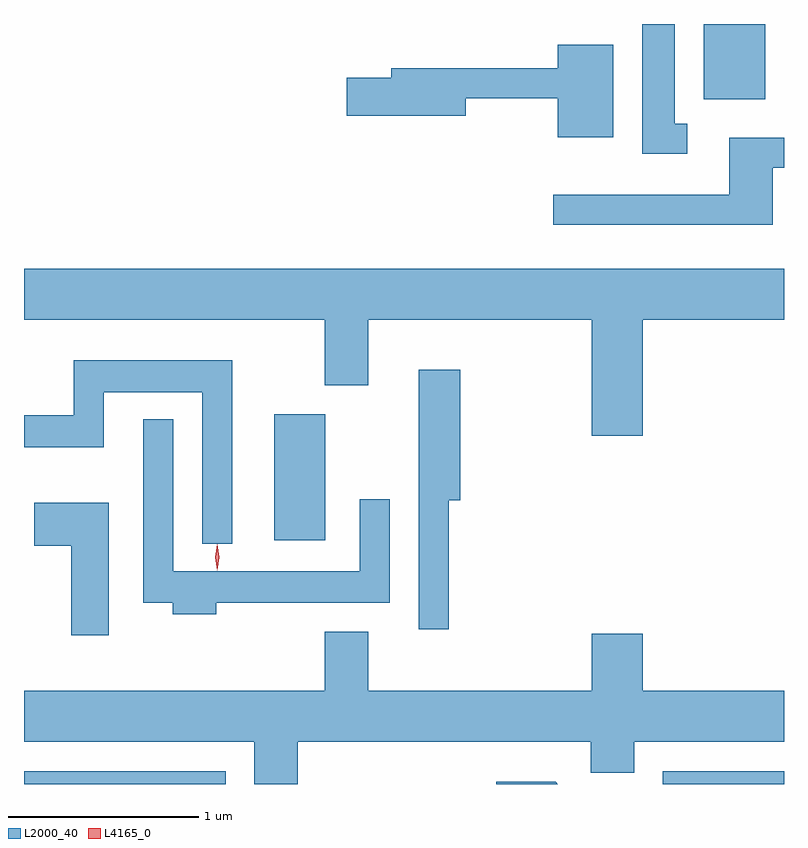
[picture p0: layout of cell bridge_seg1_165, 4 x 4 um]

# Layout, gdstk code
import gdstk
lib = gdstk.Library(unit=1e-6, precision=1e-09)
def R(c, l, rs):  # rectangles x0, y0, x1, y1
    for r in rs: c.add(gdstk.rectangle(r[:2], r[2:], *l))
def P(c, l, *ps):  # polygons
    for p in ps: c.add(gdstk.Polygon(p, *l))
L2000_40 = (2000, 40)
L4165_0 = (4165, 0)

bridge_seg1_165 = lib.new_cell('bridge_seg1_165')
R(bridge_seg1_165, L2000_40, [(811.488,965.953,812.549,966.019), (814.851,965.953,815.488,966.019), (812.806,967.236,813.074,967.899), (815.066,969.556,815.389,969.953)])
P(bridge_seg1_165, L2000_40, [(814.978,969.429),(814.914,969.429),(814.914,969.953),(814.741,969.953),(814.741,969.271),(814.978,969.271)],
  [(814.589,969.844),(814.296,969.844),(814.296,969.719),(813.421,969.719),(813.421,969.669),(813.186,969.669),(813.186,969.471),(813.814,969.471),(813.814,969.561),(814.296,969.561),(814.296,969.356),(814.589,969.356)],
  [(815.429,969.196),(815.488,969.196),(815.488,969.354),(815.201,969.354),(815.201,969.054),(814.273,969.054),(814.273,968.896),(815.429,968.896)],
  [(814.744,968.396),(815.488,968.396),(815.488,968.664),(811.488,968.664),(811.488,968.396),(813.071,968.396),(813.071,968.051),(813.299,968.051),(813.299,968.396),(814.476,968.396),(814.476,967.786),(814.744,967.786)],
  [(812.584,968.184),(811.751,968.184),(811.751,967.894),(811.488,967.894),(811.488,967.726),(811.909,967.726),(811.909,968.016),(812.426,968.016),(812.426,967.218),(812.584,967.218)],
  [(813.724,967.446),(813.784,967.446),(813.784,968.134),(813.566,968.134),(813.566,966.768),(813.724,966.768)],
  [(812.499,966.906),(813.414,966.906),(813.414,967.453),(813.256,967.453),(813.256,967.074),(812.274,967.074),(812.274,967.873),(812.116,967.873),(812.116,966.906),(812.271,966.906),(812.271,966.846),(812.499,966.846)],
  [(811.934,967.434),(811.541,967.434),(811.541,967.206),(811.736,967.206),(811.736,966.736),(811.934,966.736)],
  [(812.929,966.176),(814.471,966.176),(814.471,966.011),(814.699,966.011),(814.699,966.176),(815.488,966.176),(815.488,966.444),(814.744,966.444),(814.744,966.744),(814.476,966.744),(814.476,966.444),(813.299,966.444),(813.299,966.754),(813.071,966.754),(813.071,966.444),(811.488,966.444),(811.488,966.176),(812.701,966.176),(812.701,965.953),(812.929,965.953)],
  [(814.287,965.964),(813.973,965.964),(813.973,965.953),(814.298,965.953)])
P(bridge_seg1_165, L4165_0, [(812.505,967.08),(812.505,967.08),(812.495,967.146),(812.505,967.212),(812.505,967.213),(812.506,967.212),(812.515,967.146),(812.506,967.08)],
  [(812.505,967.077),(812.505,967.077),(812.495,967.147),(812.505,967.216),(812.505,967.216),(812.506,967.216),(812.515,967.147),(812.506,967.077)])

lib.write_gds('bridge_seg1_165.gds')
